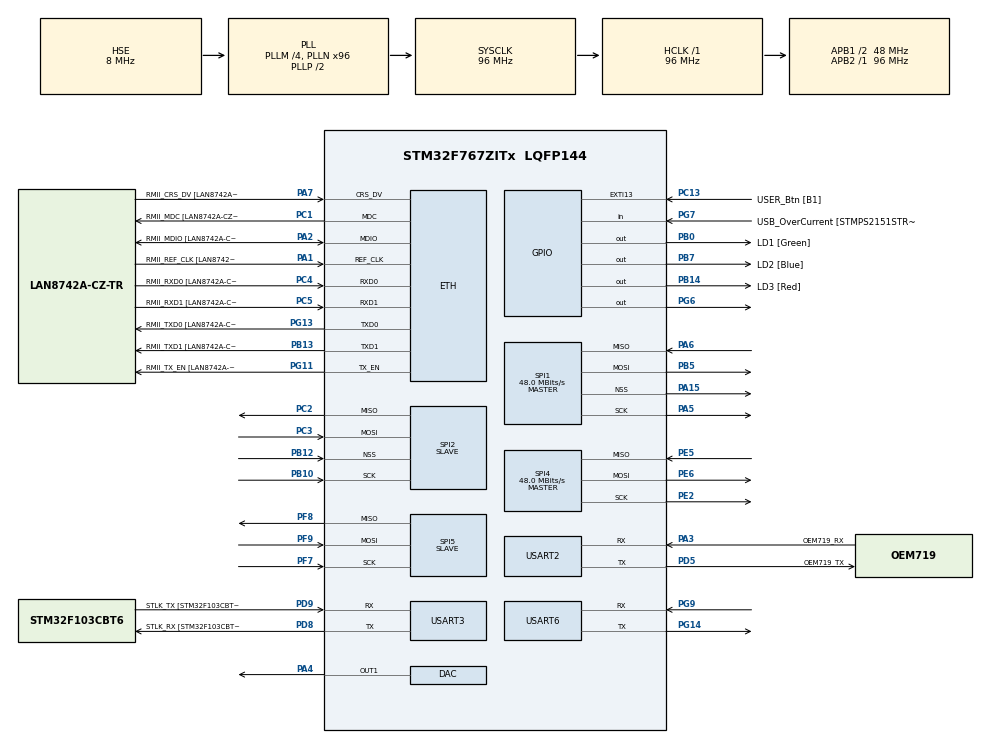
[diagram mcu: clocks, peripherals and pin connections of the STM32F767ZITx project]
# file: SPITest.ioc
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ETH.MediaInterface=HAL_ETH_RMII_MODE
ETH.PHY_Name=LAN8742A_PHY_ADDRESS
ETH.PHY_Value=0
ETH.PhyAddress=0
Mcu.Family=STM32F7
Mcu.Name=STM32F767ZITx
Mcu.Package=LQFP144
NVIC.EXTI15_10_IRQn=true\:0\:0\:false\:false\:true\:true\:true\:true
NVIC.PriorityGroup=NVIC_PRIORITYGROUP_4
NVIC.SPI1_IRQn=true\:0\:0\:false\:false\:true\:true\:true\:true
NVIC.SPI2_IRQn=true\:0\:0\:false\:false\:true\:true\:true\:true
NVIC.SPI4_IRQn=true\:0\:0\:false\:false\:true\:true\:true\:true
NVIC.SPI5_IRQn=true\:0\:0\:false\:false\:true\:true\:true\:true
NVIC.TIM6_DAC_IRQn=true\:0\:0\:false\:false\:true\:true\:true\:true
NVIC.USART2_IRQn=true\:0\:0\:false\:false\:true\:true\:true\:true
NVIC.USART3_IRQn=true\:0\:0\:false\:false\:true\:true\:true\:true
NVIC.USART6_IRQn=true\:0\:0\:false\:false\:true\:true\:true\:true
PA1.GPIO_Label=RMII_REF_CLK [LAN8742A-CZ-TR_REFCLK0]
PA1.Mode=RMII
PA1.Signal=ETH_REF_CLK
PA10.GPIO_Label=USB_ID
PA10.Signal=USB_OTG_FS_ID
PA11.GPIO_Label=USB_DM
PA11.Signal=USB_OTG_FS_DM
PA12.GPIO_Label=USB_DP
PA12.Signal=USB_OTG_FS_DP
PA13.GPIO_Label=TMS
PA13.Mode=Serial_Wire
PA13.Signal=SYS_JTMS-SWDIO
PA14.GPIO_Label=TCK
PA14.Mode=Serial_Wire
PA14.Signal=SYS_JTCK-SWCLK
PA15.Mode=NSS_Signal_Hard_Output
PA15.Signal=SPI1_NSS
PA2.GPIO_Label=RMII_MDIO [LAN8742A-CZ-TR_MDIO]
PA2.Mode=RMII
PA2.Signal=ETH_MDIO
PA3.GPIO_Label=OEM719_RX
PA3.Mode=Asynchronous
PA3.Signal=USART2_RX
PA4.Signal=COMP_DAC1_group
PA5.Mode=Full_Duplex_Master
PA5.Signal=SPI1_SCK
PA6.Mode=Full_Duplex_Master
PA6.Signal=SPI1_MISO
PA7.GPIO_Label=RMII_CRS_DV [LAN8742A-CZ-TR_CRS_DV]
PA7.Mode=RMII
PA7.Signal=ETH_CRS_DV
PA8.GPIO_Label=USB_SOF [TP1]
PA8.Signal=USB_OTG_FS_SOF
PA9.GPIO_Label=USB_VBUS
PA9.Signal=USB_OTG_FS_VBUS
PB0.GPIO_Label=LD1 [Green]
PB0.Signal=GPIO_Output
PB10.Mode=Full_Duplex_Slave
PB10.Signal=SPI2_SCK
PB12.Mode=NSS_Signal_Hard_Input
PB12.Signal=SPI2_NSS
PB13.GPIO_Label=RMII_TXD1 [LAN8742A-CZ-TR_TXD1]
PB13.Mode=RMII
PB13.Signal=ETH_TXD1
PB14.GPIO_Label=LD3 [Red]
PB14.Signal=GPIO_Output
PB3.GPIO_Label=SWO
PB3.Signal=SYS_JTDO-SWO
PB5.Mode=Full_Duplex_Master
PB5.Signal=SPI1_MOSI
PB7.GPIO_Label=LD2 [Blue]
PB7.Signal=GPIO_Output
PC1.GPIO_Label=RMII_MDC [LAN8742A-CZ-TR_MDC]
PC1.Mode=RMII
PC1.Signal=ETH_MDC
PC13.GPIO_Label=USER_Btn [B1]
PC13.Signal=GPXTI13
PC14/OSC32_IN.Mode=LSE-External-Oscillator
PC14/OSC32_IN.Signal=RCC_OSC32_IN
PC15/OSC32_OUT.Mode=LSE-External-Oscillator
PC15/OSC32_OUT.Signal=RCC_OSC32_OUT
PC2.Mode=Full_Duplex_Slave
PC2.Signal=SPI2_MISO
PC3.Mode=Full_Duplex_Slave
PC3.Signal=SPI2_MOSI
PC4.GPIO_Label=RMII_RXD0 [LAN8742A-CZ-TR_RXD0]
PC4.Mode=RMII
PC4.Signal=ETH_RXD0
PC5.GPIO_Label=RMII_RXD1 [LAN8742A-CZ-TR_RXD1]
PC5.Mode=RMII
PC5.Signal=ETH_RXD1
PD5.GPIO_Label=OEM719_TX
PD5.Mode=Asynchronous
PD5.Signal=USART2_TX
PD8.GPIO_Label=STLK_RX [STM32F103CBT6_PA3]
PD8.Mode=Asynchronous
PD8.Signal=USART3_TX
PD9.GPIO_Label=STLK_TX [STM32F103CBT6_PA2]
PD9.Mode=Asynchronous
PD9.Signal=USART3_RX
PE2.Mode=Full_Duplex_Master
PE2.Signal=SPI4_SCK
PE5.Mode=Full_Duplex_Master
PE5.Signal=SPI4_MISO
PE6.Mode=Full_Duplex_Master
PE6.Signal=SPI4_MOSI
PF7.Mode=Full_Duplex_Slave
PF7.Signal=SPI5_SCK
PF8.Mode=Full_Duplex_Slave
PF8.Signal=SPI5_MISO
PF9.Mode=Full_Duplex_Slave
PF9.Signal=SPI5_MOSI
PG11.GPIO_Label=RMII_TX_EN [LAN8742A-CZ-TR_TXEN]
PG11.Mode=RMII
PG11.Signal=ETH_TX_EN
PG13.GPIO_Label=RMII_TXD0 [LAN8742A-CZ-TR_TXD0]
PG13.Mode=RMII
PG13.Signal=ETH_TXD0
PG14.Mode=Asynchronous
PG14.Signal=USART6_TX
PG6.Signal=GPIO_Output
PG7.GPIO_Label=USB_OverCurrent [STMPS2151STR_FAULT]
PG7.Signal=GPIO_Input
PG9.Mode=Asynchronous
PG9.Signal=USART6_RX
PH0/OSC_IN.GPIO_Label=MCO [STM32F103CBT6_PA8]
PH0/OSC_IN.Mode=HSE-External-Clock-Source
PH0/OSC_IN.Signal=RCC_OSC_IN
PH1/OSC_OUT.Mode=HSE-External-Clock-Source
PH1/OSC_OUT.Signal=RCC_OSC_OUT
ProjectManager.HeapSize=0x200
ProjectManager.StackSize=0x400
ProjectManager.TargetToolchain=CMake
RCC.48MHZClocksFreq_Value=24000000
RCC.AHBFreq_Value=96000000
RCC.APB1CLKDivider=RCC_HCLK_DIV2
RCC.APB1Freq_Value=48000000
RCC.APB1TimFreq_Value=96000000
RCC.APB2Freq_Value=96000000
RCC.APB2TimFreq_Value=96000000
RCC.CortexFreq_Value=96000000
RCC.HCLKFreq_Value=96000000
RCC.HSE_VALUE=8000000
RCC.HSI_VALUE=16000000
RCC.PLLM=4
RCC.PLLMUL=RCC_PLL_MUL9
RCC.PLLN=96
RCC.PLLQ=4
RCC.PLLSourceVirtual=RCC_PLLSOURCE_HSE
RCC.PRESCALERUSB=RCC_USBCLKSOURCE_PLL_DIV1_5
RCC.SYSCLKFreq_VALUE=96000000
RCC.SYSCLKSource=RCC_SYSCLKSOURCE_PLLCLK
RCC.SYSCLKSourceVirtual=RCC_SYSCLKSOURCE_PLLCLK
RCC.USBFreq_Value=48000000
RCC.VCOOutputFreq_Value=192000000
SH.COMP_DAC1_group.0=DAC_OUT1,DAC_OUT1
SPI1.CalculateBaudRate=48.0 MBits/s
SPI1.DataSize=SPI_DATASIZE_4BIT
SPI1.Direction=SPI_DIRECTION_2LINES
SPI1.Mode=SPI_MODE_MASTER
SPI1.VirtualNSS=VM_NSSHARD
SPI1.VirtualType=VM_MASTER
SPI2.DataSize=SPI_DATASIZE_4BIT
SPI2.Direction=SPI_DIRECTION_2LINES
SPI2.Mode=SPI_MODE_SLAVE
SPI2.VirtualNSS=VM_NSSHARD
SPI2.VirtualType=VM_SLAVE
SPI4.CalculateBaudRate=48.0 MBits/s
SPI4.DataSize=SPI_DATASIZE_8BIT
SPI4.Direction=SPI_DIRECTION_2LINES
SPI4.Mode=SPI_MODE_MASTER
SPI4.VirtualType=VM_MASTER
SPI5.DataSize=SPI_DATASIZE_8BIT
SPI5.Direction=SPI_DIRECTION_2LINES
SPI5.Mode=SPI_MODE_SLAVE
SPI5.VirtualType=VM_SLAVE
USART2.VirtualMode-Asynchronous=VM_ASYNC
USART3.VirtualMode-Asynchronous=VM_ASYNC
USART6.VirtualMode-Asynchronous=VM_ASYNC
board=NUCLEO-F767ZI

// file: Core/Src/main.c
/* USER CODE BEGIN Header */
/**
  ******************************************************************************
  * @file           : main.c
  * @brief          : Main program body
  ******************************************************************************
  * @attention
  *
  * Copyright (c) 2025 STMicroelectronics.
  * All rights reserved.
  *
  * This software is licensed under terms that can be found in the LICENSE file
  * in the root directory of this software component.
  * If no LICENSE file comes with this software, it is provided AS-IS.
  *
  ******************************************************************************
  */
/* USER CODE END Header */
#include "main.h"
#include "string.h"

/* USER CODE BEGIN Includes */
#include "spitest.h"
#include <stdbool.h>
/* USER CODE END Includes */

/* USER CODE BEGIN PD */
// Set to 1 to enable periodic debug prints on USART3 while streaming
#define ENABLE_UART3_DEBUG 0

/* USER CODE END PD */

#if defined ( __ICCARM__ ) /*!< IAR Compiler */
#pragma location=0x2007c000
ETH_DMADescTypeDef  DMARxDscrTab[ETH_RX_DESC_CNT]; /* Ethernet Rx DMA Descriptors */
#pragma location=0x2007c0a0
ETH_DMADescTypeDef  DMATxDscrTab[ETH_TX_DESC_CNT]; /* Ethernet Tx DMA Descriptors */

#elif defined ( __CC_ARM )  /* MDK ARM Compiler */

__attribute__((at(0x2007c000))) ETH_DMADescTypeDef  DMARxDscrTab[ETH_RX_DESC_CNT]; /* Ethernet Rx DMA Descriptors */
__attribute__((at(0x2007c0a0))) ETH_DMADescTypeDef  DMATxDscrTab[ETH_TX_DESC_CNT]; /* Ethernet Tx DMA Descriptors */

#elif defined ( __GNUC__ ) /* GNU Compiler */

ETH_DMADescTypeDef DMARxDscrTab[ETH_RX_DESC_CNT] __attribute__((section(".RxDecripSection"))); /* Ethernet Rx DMA Descriptors */
ETH_DMADescTypeDef DMATxDscrTab[ETH_TX_DESC_CNT] __attribute__((section(".TxDecripSection")));   /* Ethernet Tx DMA Descriptors */
#endif

ETH_TxPacketConfig TxConfig;

DAC_HandleTypeDef hdac;

ETH_HandleTypeDef heth;

SPI_HandleTypeDef hspi1;
SPI_HandleTypeDef hspi2;
SPI_HandleTypeDef hspi4;
SPI_HandleTypeDef hspi5;

UART_HandleTypeDef huart2;
UART_HandleTypeDef huart3;
UART_HandleTypeDef huart6;

/* USER CODE BEGIN PV */
// OEM719 GNSS receiver buffers and state
#define OEM_RX_BUF_SIZE 512
uint8_t oem_rx_buffer[OEM_RX_BUF_SIZE];
volatile uint16_t oem_rx_head = 0;
volatile bool oem_rx_byte_ready = false;
uint8_t oem_rx_single = 0;

/* USER CODE END PV */

void SystemClock_Config(void);
static void MX_GPIO_Init(void);
static void MX_ETH_Init(void);
static void MX_SPI1_Init(void);
static void MX_SPI2_Init(void);
static void MX_USART2_UART_Init(void);
static void MX_USART3_UART_Init(void);
static void MX_DAC_Init(void);
static void MX_SPI4_Init(void);
static void MX_SPI5_Init(void);
static void MX_USART6_UART_Init(void);

/* USER CODE BEGIN 0 */

static void UART6_ClearErrorsAndFlush(void)
{
  __HAL_UART_CLEAR_PEFLAG(&huart6);
  __HAL_UART_CLEAR_FEFLAG(&huart6);
  __HAL_UART_CLEAR_NEFLAG(&huart6);
  __HAL_UART_CLEAR_OREFLAG(&huart6);
  __HAL_UART_CLEAR_IDLEFLAG(&huart6);

  while (__HAL_UART_GET_FLAG(&huart6, UART_FLAG_RXNE)) {
    volatile uint8_t discard = (uint8_t)(huart6.Instance->RDR & 0xFF);
    (void)discard;
  }
}

volatile uint32_t oem_uart_error_count = 0;

volatile bool slave_rx_done         = false;
volatile bool master_tx_done        = false;
volatile bool uart_busy             = false;
volatile bool button_request        = false;
volatile bool transfer_in_progress  = false;

uint32_t lastTick = 0;
uint8_t slave_rx_byte = 0;

void HAL_GPIO_EXTI_Callback(uint16_t GPIO_Pin) {
    if (GPIO_Pin == GPIO_PIN_13) {
      uint32_t currentTick = HAL_GetTick();

      if ((currentTick - lastTick) > 250 && !transfer_in_progress) {
        button_request = true;
        lastTick = currentTick;
        HAL_GPIO_TogglePin(GPIOB, LD2_Pin);
      }
    }
}

void HAL_SPI_RxCpltCallback(SPI_HandleTypeDef *hspi) {
    if (hspi == &hspi5) {
        slave_rx_done = true;
    }
}

void HAL_SPI_TxCpltCallback(SPI_HandleTypeDef *hspi) {
    if (hspi == &hspi4) {
        master_tx_done = true;
    }
}

void HAL_UART_TxCpltCallback(UART_HandleTypeDef *huart) {
    if (huart == &huart3) uart_busy = false;
}

void HAL_UART_RxCpltCallback(UART_HandleTypeDef *huart) {
    if (huart == &huart6) {
        // Store received byte in circular buffer
        oem_rx_buffer[oem_rx_head] = oem_rx_single;
        oem_rx_head = (oem_rx_head + 1) % OEM_RX_BUF_SIZE;
        oem_rx_byte_ready = true;

        // Restart reception for next byte
        HAL_UART_Receive_IT(&huart6, &oem_rx_single, 1);
    }
}

void HAL_UART_ErrorCallback(UART_HandleTypeDef *huart)
{
    if (huart == &huart6) {
        oem_uart_error_count++;
        UART6_ClearErrorsAndFlush();
        HAL_UART_Receive_IT(&huart6, &oem_rx_single, 1);
    }
}

const uint8_t data_buffer[4] = {'1', '3', '3', '7'};
      uint8_t slave_rx[4];

void SPILoop_HandleRequests()
{

  if (!button_request || transfer_in_progress) return;

  transfer_in_progress  = true;
  button_request        = false;
  slave_rx_done         = false;

  // Arm slave receive
  if (HAL_SPI_Receive_IT(&hspi5, (uint8_t *)slave_rx, 4) != HAL_OK) {
      char dbg[128];
      int n = snprintf(dbg, sizeof(dbg), "SLAVE_RX_IT failed: state=%d, err=0x%08lX\r\n",
                      (int)hspi5.State, (unsigned long)hspi5.ErrorCode);
      HAL_UART_Transmit(&huart3, (uint8_t*)dbg, (uint16_t)n, HAL_MAX_DELAY);
      transfer_in_progress = false;
      return;
  }

  // Master trnasmit
  if (HAL_SPI_Transmit_IT(&hspi4, (uint8_t *)data_buffer, 4) != HAL_OK) {
    HAL_UART_Transmit(&huart3, (uint8_t *)"MASTER_TX failed \r\n", sizeof("MASTER_TX failed \r\n"), HAL_MAX_DELAY);
    transfer_in_progress = false;
    return;
  }

  uint32_t t0 = HAL_GetTick();
  while(!slave_rx_done && (HAL_GetTick() - t0) < 2000) {}

  if (!slave_rx_done) {
    const char err[] = "SLAVE_RX timeout\r\n";
    HAL_UART_Transmit(&huart3, (uint8_t*)err, sizeof(err)-1, HAL_MAX_DELAY);
    transfer_in_progress = false;
    return;
  }

  HAL_UART_Transmit(&huart3, (uint8_t*)"DATA RECEIVED AT SPI5: ", sizeof("DATA RECEIVED AT SPI5: "), HAL_MAX_DELAY);
  HAL_UART_Transmit(&huart3, slave_rx, sizeof(slave_rx), HAL_MAX_DELAY); // prints "1337" if OK
  HAL_UART_Transmit(&huart3, (uint8_t*)"\r\n", 2, HAL_MAX_DELAY);

  transfer_in_progress = false;
}

/* USER CODE END 0 */

int main(void)
{

  /* MCU Configuration--------------------------------------------------------*/

  /* Reset of all peripherals, Initializes the Flash interface and the Systick. */
  HAL_Init();

  /* Configure the system clock */
  SystemClock_Config();

  /* Initialize all configured peripherals */
  MX_GPIO_Init();
  MX_ETH_Init();
  MX_SPI1_Init();
  MX_SPI2_Init();
  MX_USART2_UART_Init();
  MX_USART3_UART_Init();
  MX_DAC_Init();
  MX_SPI4_Init();
  MX_SPI5_Init();
  MX_USART6_UART_Init();
  /* USER CODE BEGIN 2 */

  const char hello[] = "\r\n=== OEM719 GNSS Baudrate Scanner ===\r\n";
  HAL_UART_Transmit(&huart3, (uint8_t*)hello, strlen(hello), HAL_MAX_DELAY);

  // ============================================================
  // HARDWARE TEST: USART6 Loopback (connect TX to RX)
  // ============================================================
  const char test_msg[] = "\r\n[HW TEST] Testing USART6 loopback...\r\n";
  HAL_UART_Transmit(&huart3, (uint8_t*)test_msg, strlen(test_msg), HAL_MAX_DELAY);
  const char test2[] = "[HW TEST] If you see garbage below, it's a hardware/EMI issue!\r\n";
  HAL_UART_Transmit(&huart3, (uint8_t*)test2, strlen(test2), HAL_MAX_DELAY);

  // Send test pattern on USART6 TX and receive it back
  const char loopback_pattern[] = "LOOPBACK_TEST_12345_ABCDE\r\n";
  oem_rx_head = 0;
  HAL_UART_Receive_IT(&huart6, &oem_rx_single, 1);

  // Short TX to RX externally or check with scope
  HAL_UART_Transmit(&huart6, (uint8_t*)loopback_pattern, strlen(loopback_pattern), HAL_MAX_DELAY);
  HAL_Delay(200);

  const char lb_result[] = "[HW TEST] USART6 loopback result:\r\n";
  HAL_UART_Transmit(&huart3, (uint8_t*)lb_result, strlen(lb_result), HAL_MAX_DELAY);
  if (oem_rx_head > 0) {
      const char lb_hex[] = "  Received (HEX): ";
      HAL_UART_Transmit(&huart3, (uint8_t*)lb_hex, strlen(lb_hex), HAL_MAX_DELAY);
      for (int i = 0; i < oem_rx_head && i < 50; i++) {
          char hex[4];
          snprintf(hex, sizeof(hex), "%02X ", oem_rx_buffer[i]);
          HAL_UART_Transmit(&huart3, (uint8_t*)hex, strlen(hex), HAL_MAX_DELAY);
      }
      HAL_UART_Transmit(&huart3, (uint8_t*)"\r\n", 2, HAL_MAX_DELAY);
      const char lb_ascii[] = "  Received (ASCII): ";
      HAL_UART_Transmit(&huart3, (uint8_t*)lb_ascii, strlen(lb_ascii), HAL_MAX_DELAY);
      HAL_UART_Transmit(&huart3, oem_rx_buffer, oem_rx_head, HAL_MAX_DELAY);
      HAL_UART_Transmit(&huart3, (uint8_t*)"\r\n", 2, HAL_MAX_DELAY);
  } else {
      const char no_loop[] = "  [No loopback data - TX/RX not connected]\r\n";
      HAL_UART_Transmit(&huart3, (uint8_t*)no_loop, strlen(no_loop), HAL_MAX_DELAY);
  }
  const char test_done[] = "[HW TEST] If loopback is clean but OEM719 is garbled, check:\r\n";
  HAL_UART_Transmit(&huart3, (uint8_t*)test_done, strlen(test_done), HAL_MAX_DELAY);
  const char test_check1[] = "  1. *** CRITICAL: COMMON GROUND REQUIRED! ***\r\n";
  HAL_UART_Transmit(&huart3, (uint8_t*)test_check1, strlen(test_check1), HAL_MAX_DELAY);
  const char test_check2[] = "     Connect OEM719 GND to STM32 GND!\r\n";
  HAL_UART_Transmit(&huart3, (uint8_t*)test_check2, strlen(test_check2), HAL_MAX_DELAY);
  const char test_check3[] = "     Without common ground, voltage levels are undefined!\r\n";
  HAL_UART_Transmit(&huart3, (uint8_t*)test_check3, strlen(test_check3), HAL_MAX_DELAY);
  const char test_check4[] = "  2. OEM719 TX voltage (should be 3.3V, not 5V!)\r\n";
  HAL_UART_Transmit(&huart3, (uint8_t*)test_check4, strlen(test_check4), HAL_MAX_DELAY);
  const char test_check5[] = "  3. Wire length (keep under 30cm for high baud)\r\n\r\n";
  HAL_UART_Transmit(&huart3, (uint8_t*)test_check5, strlen(test_check5), HAL_MAX_DELAY);

  oem_rx_head = 0;
  HAL_UART_Abort(&huart6);

  // ============================================================
  // CRITICAL FIX: Send blind reset commands at multiple baud rates
  // to recover from previous configuration changes
  // ============================================================
  const char msg_reset[] = "[RECOVERY] Sending UNLOG at common baud rates to clear OEM719 state...\r\n";
  HAL_UART_Transmit(&huart3, (uint8_t*)msg_reset, strlen(msg_reset), HAL_MAX_DELAY);

  uint32_t recovery_bauds[] = {9600, 115200, 230400, 460800, 19200};
  for (int r = 0; r < 5; r++) {
      HAL_UART_Abort(&huart6);
      huart6.Init.BaudRate = recovery_bauds[r];
      HAL_UART_Init(&huart6);

      UART6_ClearErrorsAndFlush();
      __HAL_UART_ENABLE_IT(&huart6, UART_IT_ERR);
      __HAL_UART_ENABLE_IT(&huart6, UART_IT_PE);

      // CRITICAL: Start RX interrupt BEFORE sending command!
      HAL_UART_Receive_IT(&huart6, &oem_rx_single, 1);
      HAL_Delay(50);

      // FORCE responses back ON (in case previous run disabled them)
      const char force_on[] = "INTERFACEMODE COM1 NONE NONE ON\r\n";
      HAL_UART_Transmit(&huart6, (uint8_t*)force_on, strlen(force_on), 100);
      HAL_Delay(50);

      // Send UNLOG blind (will work if OEM719 is at this baud rate)
      const char unlog_blind[] = "UNLOG\r\n";
      HAL_UART_Transmit(&huart6, (uint8_t*)unlog_blind, strlen(unlog_blind), 100);
      HAL_Delay(100);  // Give time for response
  }

  const char msg_reset_done[] = "[RECOVERY] Recovery commands sent\r\n";
  HAL_UART_Transmit(&huart3, (uint8_t*)msg_reset_done, strlen(msg_reset_done), HAL_MAX_DELAY);

  HAL_UART_Abort(&huart6);
  oem_rx_head = 0;  // NOW clear buffer after recovery

  // Common OEM719 baudrates to test (starting with most reliable)
  uint32_t baudrates[] = {9600, 19200, 38400, 57600, 115200, 230400, 460800};
  int num_baudrates = 7;
  bool found = false;
  uint32_t working_baudrate = 0;

  for (int i = 0; i < num_baudrates && !found; i++) {
      char msg[80];
      snprintf(msg, sizeof(msg), "\r\n[TEST %d/%d] Trying %lu baud...\r\n",
               i+1, num_baudrates, (unsigned long)baudrates[i]);
      HAL_UART_Transmit(&huart3, (uint8_t*)msg, strlen(msg), HAL_MAX_DELAY);

      // Reconfigure USART6 to test baudrate
      HAL_UART_Abort(&huart6);
      huart6.Init.BaudRate = baudrates[i];
      if (HAL_UART_Init(&huart6) != HAL_OK) {
          Error_Handler();
      }

      // Clear residual flags/data and enable error interrupts before RX
      UART6_ClearErrorsAndFlush();
      __HAL_UART_ENABLE_IT(&huart6, UART_IT_ERR);
      __HAL_UART_ENABLE_IT(&huart6, UART_IT_PE);

      // Start interrupt-driven reception
      HAL_UART_Receive_IT(&huart6, &oem_rx_single, 1);

      HAL_Delay(100);  // Brief stabilization

      // Clear buffer BEFORE sending command
      oem_rx_head = 0;

      // Send VERSION command (lighter than UNLOG, always responds)
      const char ver[] = "VERSION\r\n";
      HAL_UART_Transmit(&huart6, (uint8_t*)ver, strlen(ver), HAL_MAX_DELAY);

      HAL_Delay(1500);  // Wait for response (OEM719 might be processing)

      // Check if we got a response (looking for any data, even just \r\n)
      if (oem_rx_head > 2) {  // At least got \r\n or some response
          char success[100];
          snprintf(success, sizeof(success),
                   "*** SUCCESS! OEM719 responded at %lu baud! ***\r\n",
                   (unsigned long)baudrates[i]);
          HAL_UART_Transmit(&huart3, (uint8_t*)success, strlen(success), HAL_MAX_DELAY);

          // Show what we received (ASCII)
          const char resp[] = "Response (ASCII): ";
          HAL_UART_Transmit(&huart3, (uint8_t*)resp, strlen(resp), HAL_MAX_DELAY);
          HAL_UART_Transmit(&huart3, oem_rx_buffer,
                           (oem_rx_head < 40) ? oem_rx_head : 40, HAL_MAX_DELAY);
          HAL_UART_Transmit(&huart3, (uint8_t*)"\r\n", 2, HAL_MAX_DELAY);

          // Show hex dump to diagnose binary vs ASCII
          const char hex_label[] = "Response (HEX): ";
          HAL_UART_Transmit(&huart3, (uint8_t*)hex_label, strlen(hex_label), HAL_MAX_DELAY);
          for (int j = 0; j < oem_rx_head && j < 40; j++) {
              char hex[4];
              snprintf(hex, sizeof(hex), "%02X ", oem_rx_buffer[j]);
              HAL_UART_Transmit(&huart3, (uint8_t*)hex, strlen(hex), HAL_MAX_DELAY);
          }
          HAL_UART_Transmit(&huart3, (uint8_t*)"\r\n\r\n", 3, HAL_MAX_DELAY);

          found = true;
          working_baudrate = baudrates[i];
  } else {
          const char fail[] = "No response.\r\n";
          HAL_UART_Transmit(&huart3, (uint8_t*)fail, strlen(fail), HAL_MAX_DELAY);
      }

      HAL_UART_Abort(&huart6);
  }

  if (!found) {
      const char err1[] = "\r\n!!! ERROR: OEM719 not responding at ANY baudrate !!!\r\n";
      HAL_UART_Transmit(&huart3, (uint8_t*)err1, strlen(err1), HAL_MAX_DELAY);
      const char err2[] = "Check:\r\n";
      HAL_UART_Transmit(&huart3, (uint8_t*)err2, strlen(err2), HAL_MAX_DELAY);
      const char err3[] = "  1. Wiring: OEM719 TXD1 -> STM32 USART6_RX\r\n";
      HAL_UART_Transmit(&huart3, (uint8_t*)err3, strlen(err3), HAL_MAX_DELAY);
      const char err4[] = "  2. Wiring: OEM719 RXD1 -> STM32 USART6_TX\r\n";
      HAL_UART_Transmit(&huart3, (uint8_t*)err4, strlen(err4), HAL_MAX_DELAY);
      const char err5[] = "  3. Power: Is OEM719 powered and LED blinking?\r\n";
      HAL_UART_Transmit(&huart3, (uint8_t*)err5, strlen(err5), HAL_MAX_DELAY);
      const char err6[] = "  4. Voltage: 3.3V logic levels (not 5V!)\r\n";
      HAL_UART_Transmit(&huart3, (uint8_t*)err6, strlen(err6), HAL_MAX_DELAY);
      const char err7[] = "\r\nStopping here. Fix wiring and reset board.\r\n\r\n";
      HAL_UART_Transmit(&huart3, (uint8_t*)err7, strlen(err7), HAL_MAX_DELAY);

      // Stop here - don't proceed
      while(1) {
          HAL_Delay(1000);
          HAL_GPIO_TogglePin(GPIOB, LD1_Pin);  // Blink LED to show error
      }
  }

  HAL_Delay(500);

  // ============================================================
  // Step 2: Now configure OEM719 at the working baudrate
  // ============================================================
  huart6.Init.BaudRate = working_baudrate;
  if (HAL_UART_Init(&huart6) != HAL_OK) {
      Error_Handler();
  }

  // Clear residual flags/data and enable error interrupts before RX
  UART6_ClearErrorsAndFlush();
  __HAL_UART_ENABLE_IT(&huart6, UART_IT_ERR);
  __HAL_UART_ENABLE_IT(&huart6, UART_IT_PE);
  HAL_UART_Receive_IT(&huart6, &oem_rx_single, 1);

  oem_rx_head = 0;  // Clear buffer

  // Clear any pending logs
  const char unlog[] = "UNLOGALL\r\n";
  HAL_UART_Transmit(&huart6, (uint8_t*)unlog, strlen(unlog), HAL_MAX_DELAY);
  HAL_Delay(200);
  oem_rx_head = 0;

  // ============================================================
  // Step 3: Lock baud rate at detected rate and disable auto-switching
  // CRITICAL: Do NOT change baud rate - keep at working_baudrate!
  // ============================================================
  const char msg_lock[] = "[STM32] Locking communication at detected baud rate\r\n";
  HAL_UART_Transmit(&huart3, (uint8_t*)msg_lock, strlen(msg_lock), HAL_MAX_DELAY);

  // Just disable break detection, don't change the baud rate
  char serialcmd[80];
  snprintf(serialcmd, sizeof(serialcmd), "SERIALCONFIG COM1 %lu N 8 1 N OFF\r\n",
           (unsigned long)working_baudrate);

  oem_rx_head = 0;  // Clear before sending
  HAL_UART_Transmit(&huart6, (uint8_t*)serialcmd, strlen(serialcmd), HAL_MAX_DELAY);

  HAL_Delay(300);

  // Check response briefly
  if (oem_rx_head > 0) {
      // Check for <OK
      bool got_ok = false;
      for (int i = 0; i < oem_rx_head - 2; i++) {
          if (oem_rx_buffer[i] == 0x3C && oem_rx_buffer[i+1] == 0x4F && oem_rx_buffer[i+2] == 0x4B) {
              got_ok = true;
              break;
          }
      }

      if (got_ok) {
          const char msg_ok[] = "[STM32] SERIALCONFIG confirmed\r\n";
          HAL_UART_Transmit(&huart3, (uint8_t*)msg_ok, strlen(msg_ok), HAL_MAX_DELAY);
      }
  }

  oem_rx_head = 0;
  HAL_Delay(200);

  const char msg_stay[] = "[STM32] Communication stable, ready for logging\r\n\r\n";
  HAL_UART_Transmit(&huart3, (uint8_t*)msg_stay, strlen(msg_stay), HAL_MAX_DELAY);

  // ============================================================
  // Step 4: Clear all existing logs
  // ============================================================
  const char unlogall[] = "UNLOGALL\r\n";
  HAL_UART_Transmit(&huart6, (uint8_t*)unlogall, strlen(unlogall), HAL_MAX_DELAY);

  const char msg_unlog[] = "[STM32] Cleared all logs\r\n";
  HAL_UART_Transmit(&huart3, (uint8_t*)msg_unlog, strlen(msg_unlog), HAL_MAX_DELAY);

  HAL_Delay(500);
  oem_rx_head = 0;

  // ============================================================
  // Step 5: CRITICAL DIAGNOSTIC - Check for binary format responses
  // ============================================================
  const char msg_diag[] = "[STM32] === DIAGNOSTICS ===\r\n";
  HAL_UART_Transmit(&huart3, (uint8_t*)msg_diag, strlen(msg_diag), HAL_MAX_DELAY);

  // Check if responses are BINARY (AA 44 12 1C = NovAtel binary sync)
  const char msg_check[] = "[STM32] Checking if OEM719 is in BINARY mode...\r\n";
  HAL_UART_Transmit(&huart3, (uint8_t*)msg_check, strlen(msg_check), HAL_MAX_DELAY);

  // Request port statistics to see format
  const char portstat[] = "LOG PORTSTATSA ONCE\r\n";
  HAL_UART_Transmit(&huart6, (uint8_t*)portstat, strlen(portstat), HAL_MAX_DELAY);

  HAL_Delay(1000);

  if (oem_rx_head > 0) {
      // Check for binary header (AA 44 12 1C)
      bool is_binary = false;
      if (oem_rx_head >= 4) {
          if (oem_rx_buffer[0] == 0xAA && oem_rx_buffer[1] == 0x44 &&
              oem_rx_buffer[2] == 0x12 && oem_rx_buffer[3] == 0x1C) {
              is_binary = true;
          }
      }

      char resp[100];
      snprintf(resp, sizeof(resp), "[STM32] Response (%d bytes): ", oem_rx_head);
      HAL_UART_Transmit(&huart3, (uint8_t*)resp, strlen(resp), HAL_MAX_DELAY);

      for (int i = 0; i < oem_rx_head && i < 40; i++) {
          char hex[4];
          snprintf(hex, sizeof(hex), "%02X ", oem_rx_buffer[i]);
          HAL_UART_Transmit(&huart3, (uint8_t*)hex, strlen(hex), HAL_MAX_DELAY);
      }
      HAL_UART_Transmit(&huart3, (uint8_t*)"\r\n", 2, HAL_MAX_DELAY);

      if (is_binary) {
          const char msg_bin[] = "[STM32] *** BINARY FORMAT DETECTED! ***\r\n";
          HAL_UART_Transmit(&huart3, (uint8_t*)msg_bin, strlen(msg_bin), HAL_MAX_DELAY);
          const char msg_fix[] = "[STM32] OEM719 is in BINARY mode, need to force ASCII!\r\n\r\n";
          HAL_UART_Transmit(&huart3, (uint8_t*)msg_fix, strlen(msg_fix), HAL_MAX_DELAY);
      } else {
          const char msg_unk[] = "[STM32] Format unclear - not standard binary\r\n\r\n";
          HAL_UART_Transmit(&huart3, (uint8_t*)msg_unk, strlen(msg_unk), HAL_MAX_DELAY);
      }
  }

  oem_rx_head = 0;

  // ============================================================
  // Step 6: FORCE ASCII mode explicitly (RX and TX both ASCII)
  // ============================================================
  const char msg_force[] = "[STM32] Forcing INTERFACEMODE to ASCII...\r\n";
  HAL_UART_Transmit(&huart3, (uint8_t*)msg_force, strlen(msg_force), HAL_MAX_DELAY);

  // OEM719 INTERFACEMODE: port rxtype txtype responses
  // NONE = Auto-detect format (defaults to ASCII)
  // ON = Enable responses (CRITICAL - without this OEM719 goes silent!)
  oem_rx_head = 0;

  // Method 1: Set interface to auto-detect with responses ENABLED
  const char ifmode1[] = "INTERFACEMODE COM1 NONE NONE ON\r\n";
  HAL_UART_Transmit(&huart6, (uint8_t*)ifmode1, strlen(ifmode1), HAL_MAX_DELAY);
  HAL_Delay(200);

  // Method 2: Explicitly request ASCII via UNLOGALL (clears binary logs too)
  const char unlog2[] = "UNLOGALL TRUE\r\n";
  HAL_UART_Transmit(&huart6, (uint8_t*)unlog2, strlen(unlog2), HAL_MAX_DELAY);
  HAL_Delay(200);

  if (oem_rx_head > 0) {
      char resp[80];
      snprintf(resp, sizeof(resp), "[STM32] INTERFACEMODE response (%d bytes): ", oem_rx_head);
      HAL_UART_Transmit(&huart3, (uint8_t*)resp, strlen(resp), HAL_MAX_DELAY);

      for (int i = 0; i < oem_rx_head && i < 30; i++) {
          char hex[4];
          snprintf(hex, sizeof(hex), "%02X ", oem_rx_buffer[i]);
          HAL_UART_Transmit(&huart3, (uint8_t*)hex, strlen(hex), HAL_MAX_DELAY);
      }

      // Check for ASCII <OK (3C 4F 4B)
      bool got_ok = false;
      for (int i = 0; i < oem_rx_head - 2; i++) {
          if (oem_rx_buffer[i] == 0x3C && oem_rx_buffer[i+1] == 0x4F && oem_rx_buffer[i+2] == 0x4B) {
              got_ok = true;
              break;
          }
      }

      if (got_ok) {
          const char msg_ok[] = " [GOT ASCII <OK!]\r\n\r\n";
          HAL_UART_Transmit(&huart3, (uint8_t*)msg_ok, strlen(msg_ok), HAL_MAX_DELAY);
      } else {
          const char msg_still[] = " [STILL GARBLED]\r\n\r\n";
          HAL_UART_Transmit(&huart3, (uint8_t*)msg_still, strlen(msg_still), HAL_MAX_DELAY);
      }
  }

  oem_rx_head = 0;

  // ============================================================
  // Step 7: Enable 1PPS (Pulse Per Second) output for timing
  // ============================================================
  const char pps_cmd[] = "PPSCONTROL ENABLE POSITIVE 1.0 0\r\n";
  HAL_UART_Transmit(&huart6, (uint8_t*)pps_cmd, strlen(pps_cmd), HAL_MAX_DELAY);

  const char msg_pps[] = "[STM32] Enabling 1PPS output (pulse-per-second timing)\r\n";
  HAL_UART_Transmit(&huart3, (uint8_t*)msg_pps, strlen(msg_pps), HAL_MAX_DELAY);
  HAL_Delay(200);
  oem_rx_head = 0;

  // ============================================================
  // Step 8: Request logs that will ALWAYS output (to verify TX works)
  // ============================================================

  // VERSION log - outputs IMMEDIATELY, no GPS needed, repeats every 10 seconds
  const char versioncmd[] = "LOG VERSIONA ONTIME 10\r\n";
  HAL_UART_Transmit(&huart6, (uint8_t*)versioncmd, strlen(versioncmd), HAL_MAX_DELAY);
  HAL_Delay(100);

  // RXSTATUS log - outputs receiver status every 5 seconds, no GPS needed
  const char rxstatuscmd[] = "LOG RXSTATUSA ONTIME 5\r\n";
  HAL_UART_Transmit(&huart6, (uint8_t*)rxstatuscmd, strlen(rxstatuscmd), HAL_MAX_DELAY);
  HAL_Delay(100);

  // Position logs (only work with GPS lock)
  const char bestposcmd[] = "LOG BESTPOSA ONTIME 1\r\n";
  HAL_UART_Transmit(&huart6, (uint8_t*)bestposcmd, strlen(bestposcmd), HAL_MAX_DELAY);
  HAL_Delay(100);

  const char timecmd[] = "LOG TIMEA ONTIME 1\r\n";
  HAL_UART_Transmit(&huart6, (uint8_t*)timecmd, strlen(timecmd), HAL_MAX_DELAY);
  HAL_Delay(100);

  const char msg_logs[] = "[STM32] Enabled logs:\r\n";
  HAL_UART_Transmit(&huart3, (uint8_t*)msg_logs, strlen(msg_logs), HAL_MAX_DELAY);
  const char msg_ver[] = "  - VERSIONA (every 10s) - ALWAYS outputs\r\n";
  HAL_UART_Transmit(&huart3, (uint8_t*)msg_ver, strlen(msg_ver), HAL_MAX_DELAY);
  const char msg_rx[] = "  - RXSTATUSA (every 5s) - ALWAYS outputs\r\n";
  HAL_UART_Transmit(&huart3, (uint8_t*)msg_rx, strlen(msg_rx), HAL_MAX_DELAY);
  const char msg_pos[] = "  - BESTPOSA (1Hz) - needs GPS lock\r\n";
  HAL_UART_Transmit(&huart3, (uint8_t*)msg_pos, strlen(msg_pos), HAL_MAX_DELAY);
  const char msg_time[] = "  - TIMEA (1Hz) - needs GPS lock\r\n";
  HAL_UART_Transmit(&huart3, (uint8_t*)msg_time, strlen(msg_time), HAL_MAX_DELAY);
  const char msg_note[] = "[STM32] You should see VERSION and RXSTATUS immediately!\r\n";
  HAL_UART_Transmit(&huart3, (uint8_t*)msg_note, strlen(msg_note), HAL_MAX_DELAY);
  const char msg_note2[] = "[STM32] For position data: connect antenna + sky view\r\n";
  HAL_UART_Transmit(&huart3, (uint8_t*)msg_note2, strlen(msg_note2), HAL_MAX_DELAY);

  oem_rx_head = 0;

  // ============================================================
  // Step 9: Wait 3 seconds to collect initial responses
  // ============================================================
  const char msg_wait[] = "[STM32] Waiting 3 sec for log confirmations...\r\n";
  HAL_UART_Transmit(&huart3, (uint8_t*)msg_wait, strlen(msg_wait), HAL_MAX_DELAY);

  HAL_Delay(3000);

  if (oem_rx_head > 0) {
      char resp[80];
      snprintf(resp, sizeof(resp), "[STM32] Got %d bytes of responses\r\n", oem_rx_head);
      HAL_UART_Transmit(&huart3, (uint8_t*)resp, strlen(resp), HAL_MAX_DELAY);
  }

  oem_rx_head = 0;

  const char msg5[] = "=========================================\r\n";
  HAL_UART_Transmit(&huart3, (uint8_t*)msg5, strlen(msg5), HAL_MAX_DELAY);
  const char msg6[] = "OEM719 LIVE DATA STREAM (with message parsing)\r\n";
  HAL_UART_Transmit(&huart3, (uint8_t*)msg6, strlen(msg6), HAL_MAX_DELAY);
  const char msg7[] = "Messages will be displayed with timestamps\r\n";
  HAL_UART_Transmit(&huart3, (uint8_t*)msg7, strlen(msg7), HAL_MAX_DELAY);
  const char msg8[] = "=========================================\r\n\r\n";
  HAL_UART_Transmit(&huart3, (uint8_t*)msg8, strlen(msg8), HAL_MAX_DELAY);

  // Start tail at current head to skip already-processed data
  uint16_t start_head = oem_rx_head;

  /* USER CODE END 2 */

  /* Infinite loop */
  /* USER CODE BEGIN WHILE */
  uint16_t oem_rx_tail = start_head;  // Start after already-shown data
  uint32_t last_stats_tick = HAL_GetTick();
  uint32_t msg_count = 0;
  uint32_t byte_count = 0;

  // Line parsing state
  uint8_t line_buffer[256];
  uint16_t line_pos = 0;
  bool in_message = false;

  while (1)
  {
    SPILoop_HandleRequests();

    // Parse and display OEM719 messages line-by-line with formatting
    while (oem_rx_head != oem_rx_tail) {
        uint8_t byte = oem_rx_buffer[oem_rx_tail];
        oem_rx_tail = (oem_rx_tail + 1) % OEM_RX_BUF_SIZE;
        byte_count++;

        // Detect start of message
        if (byte == '#' || byte == '<' || byte == '[') {
            if (line_pos > 0) {
                // Flush previous line
                HAL_UART_Transmit(&huart3, line_buffer, line_pos, 100);
                HAL_UART_Transmit(&huart3, (uint8_t*)"\r\n", 2, 100);
                line_pos = 0;
            }
            in_message = true;
            msg_count++;

            // Add timestamp prefix for new messages
            uint32_t now = HAL_GetTick();
            char prefix[32];
            int n = snprintf(prefix, sizeof(prefix), "[%lu.%03lu] ",
                           (unsigned long)(now/1000), (unsigned long)(now%1000));
            HAL_UART_Transmit(&huart3, (uint8_t*)prefix, (uint16_t)n, 100);
        }

        // Buffer the byte
        if (line_pos < sizeof(line_buffer) - 1) {
            line_buffer[line_pos++] = byte;
        }

        // Detect end of line
        if (byte == '\n') {
            // Flush complete line
            HAL_UART_Transmit(&huart3, line_buffer, line_pos, 100);
            line_pos = 0;
            in_message = false;
        }
    }

    // Periodic statistics every 10 seconds
    uint32_t now = HAL_GetTick();
    if ((now - last_stats_tick) >= 10000) {
        last_stats_tick = now;

        char stats[150];
        int n = snprintf(stats, sizeof(stats),
                        "\r\n[STATS] Messages: %lu | Bytes: %lu | UART Errors: %lu | Uptime: %lu.%03lus\r\n\r\n",
                        (unsigned long)msg_count, (unsigned long)byte_count,
                        (unsigned long)oem_uart_error_count,
                        (unsigned long)(now/1000), (unsigned long)(now%1000));
        HAL_UART_Transmit(&huart3, (uint8_t*)stats, (uint16_t)n, HAL_MAX_DELAY);
    }

    /* USER CODE END WHILE */

  }
}

void SystemClock_Config(void)
{
  RCC_OscInitTypeDef RCC_OscInitStruct = {0};
  RCC_ClkInitTypeDef RCC_ClkInitStruct = {0};

  /** Configure LSE Drive Capability
  */
  HAL_PWR_EnableBkUpAccess();

  /** Configure the main internal regulator output voltage
  */
  __HAL_RCC_PWR_CLK_ENABLE();
  __HAL_PWR_VOLTAGESCALING_CONFIG(PWR_REGULATOR_VOLTAGE_SCALE3);

  /** Initializes the RCC Oscillators according to the specified parameters
  * in the RCC_OscInitTypeDef structure.
  */
  RCC_OscInitStruct.OscillatorType = RCC_OSCILLATORTYPE_HSE;
  RCC_OscInitStruct.HSEState = RCC_HSE_BYPASS;
  RCC_OscInitStruct.PLL.PLLState = RCC_PLL_ON;
  RCC_OscInitStruct.PLL.PLLSource = RCC_PLLSOURCE_HSE;
  RCC_OscInitStruct.PLL.PLLM = 4;
  RCC_OscInitStruct.PLL.PLLN = 96;
  RCC_OscInitStruct.PLL.PLLP = RCC_PLLP_DIV2;
  RCC_OscInitStruct.PLL.PLLQ = 4;
  RCC_OscInitStruct.PLL.PLLR = 2;
  if (HAL_RCC_OscConfig(&RCC_OscInitStruct) != HAL_OK)
  {
    Error_Handler();
  }

  /** Activate the Over-Drive mode
  */
  if (HAL_PWREx_EnableOverDrive() != HAL_OK)
  {
    Error_Handler();
  }

  /** Initializes the CPU, AHB and APB buses clocks
  */
  RCC_ClkInitStruct.ClockType = RCC_CLOCKTYPE_HCLK|RCC_CLOCKTYPE_SYSCLK
                              |RCC_CLOCKTYPE_PCLK1|RCC_CLOCKTYPE_PCLK2;
  RCC_ClkInitStruct.SYSCLKSource = RCC_SYSCLKSOURCE_PLLCLK;
  RCC_ClkInitStruct.AHBCLKDivider = RCC_SYSCLK_DIV1;
  RCC_ClkInitStruct.APB1CLKDivider = RCC_HCLK_DIV2;
  RCC_ClkInitStruct.APB2CLKDivider = RCC_HCLK_DIV1;

  if (HAL_RCC_ClockConfig(&RCC_ClkInitStruct, FLASH_LATENCY_3) != HAL_OK)
  {
    Error_Handler();
  }
}

static void MX_DAC_Init(void)
{

  DAC_ChannelConfTypeDef sConfig = {0};

  /** DAC Initialization
  */
  hdac.Instance = DAC;
  if (HAL_DAC_Init(&hdac) != HAL_OK)
  {
    Error_Handler();
  }

  /** DAC channel OUT1 config
  */
  sConfig.DAC_Trigger = DAC_TRIGGER_NONE;
  sConfig.DAC_OutputBuffer = DAC_OUTPUTBUFFER_ENABLE;
  if (HAL_DAC_ConfigChannel(&hdac, &sConfig, DAC_CHANNEL_1) != HAL_OK)
  {
    Error_Handler();
  }

}

static void MX_ETH_Init(void)
{

   static uint8_t MACAddr[6];

  heth.Instance = ETH;
  MACAddr[0] = 0x00;
  MACAddr[1] = 0x80;
  MACAddr[2] = 0xE1;
  MACAddr[3] = 0x00;
  MACAddr[4] = 0x00;
  MACAddr[5] = 0x00;
  heth.Init.MACAddr = &MACAddr[0];
  heth.Init.MediaInterface = HAL_ETH_RMII_MODE;
  heth.Init.TxDesc = DMATxDscrTab;
  heth.Init.RxDesc = DMARxDscrTab;
  heth.Init.RxBuffLen = 1524;

  if (HAL_ETH_Init(&heth) != HAL_OK)
  {
    Error_Handler();
  }

  memset(&TxConfig, 0 , sizeof(ETH_TxPacketConfig));
  TxConfig.Attributes = ETH_TX_PACKETS_FEATURES_CSUM | ETH_TX_PACKETS_FEATURES_CRCPAD;
  TxConfig.ChecksumCtrl = ETH_CHECKSUM_IPHDR_PAYLOAD_INSERT_PHDR_CALC;
  TxConfig.CRCPadCtrl = ETH_CRC_PAD_INSERT;

}

static void MX_SPI1_Init(void)
{

  /* SPI1 parameter configuration*/
  hspi1.Instance = SPI1;
  hspi1.Init.Mode = SPI_MODE_MASTER;
  hspi1.Init.Direction = SPI_DIRECTION_2LINES;
  hspi1.Init.DataSize = SPI_DATASIZE_4BIT;
  hspi1.Init.CLKPolarity = SPI_POLARITY_LOW;
  hspi1.Init.CLKPhase = SPI_PHASE_1EDGE;
  hspi1.Init.NSS = SPI_NSS_HARD_OUTPUT;
  hspi1.Init.BaudRatePrescaler = SPI_BAUDRATEPRESCALER_2;
  hspi1.Init.FirstBit = SPI_FIRSTBIT_MSB;
  hspi1.Init.TIMode = SPI_TIMODE_DISABLE;
  hspi1.Init.CRCCalculation = SPI_CRCCALCULATION_DISABLE;
  hspi1.Init.CRCPolynomial = 7;
  hspi1.Init.CRCLength = SPI_CRC_LENGTH_DATASIZE;
  hspi1.Init.NSSPMode = SPI_NSS_PULSE_ENABLE;
  if (HAL_SPI_Init(&hspi1) != HAL_OK)
  {
    Error_Handler();
  }

}

static void MX_SPI2_Init(void)
{

  /* SPI2 parameter configuration*/
  hspi2.Instance = SPI2;
  hspi2.Init.Mode = SPI_MODE_SLAVE;
  hspi2.Init.Direction = SPI_DIRECTION_2LINES;
  hspi2.Init.DataSize = SPI_DATASIZE_4BIT;
  hspi2.Init.CLKPolarity = SPI_POLARITY_LOW;
  hspi2.Init.CLKPhase = SPI_PHASE_1EDGE;
  hspi2.Init.NSS = SPI_NSS_HARD_INPUT;
  hspi2.Init.FirstBit = SPI_FIRSTBIT_MSB;
  hspi2.Init.TIMode = SPI_TIMODE_DISABLE;
  hspi2.Init.CRCCalculation = SPI_CRCCALCULATION_DISABLE;
  hspi2.Init.CRCPolynomial = 7;
  hspi2.Init.CRCLength = SPI_CRC_LENGTH_DATASIZE;
  hspi2.Init.NSSPMode = SPI_NSS_PULSE_DISABLE;
  if (HAL_SPI_Init(&hspi2) != HAL_OK)
  {
    Error_Handler();
  }

}

static void MX_SPI4_Init(void)
{

  /* SPI4 parameter configuration*/
  hspi4.Instance = SPI4;
  hspi4.Init.Mode = SPI_MODE_MASTER;
  hspi4.Init.Direction = SPI_DIRECTION_2LINES;
  hspi4.Init.DataSize = SPI_DATASIZE_8BIT;
  hspi4.Init.CLKPolarity = SPI_POLARITY_LOW;
  hspi4.Init.CLKPhase = SPI_PHASE_1EDGE;
  hspi4.Init.NSS = SPI_NSS_SOFT;
  hspi4.Init.BaudRatePrescaler = SPI_BAUDRATEPRESCALER_2;
  hspi4.Init.FirstBit = SPI_FIRSTBIT_MSB;
  hspi4.Init.TIMode = SPI_TIMODE_DISABLE;
  hspi4.Init.CRCCalculation = SPI_CRCCALCULATION_DISABLE;
  hspi4.Init.CRCPolynomial = 7;
  hspi4.Init.CRCLength = SPI_CRC_LENGTH_DATASIZE;
  hspi4.Init.NSSPMode = SPI_NSS_PULSE_ENABLE;
  if (HAL_SPI_Init(&hspi4) != HAL_OK)
  {
    Error_Handler();
  }

}

static void MX_SPI5_Init(void)
{

  /* SPI5 parameter configuration*/
  hspi5.Instance = SPI5;
  hspi5.Init.Mode = SPI_MODE_SLAVE;
  hspi5.Init.Direction = SPI_DIRECTION_2LINES;
  hspi5.Init.DataSize = SPI_DATASIZE_8BIT;
  hspi5.Init.CLKPolarity = SPI_POLARITY_LOW;
  hspi5.Init.CLKPhase = SPI_PHASE_1EDGE;
  hspi5.Init.NSS = SPI_NSS_SOFT;
  hspi5.Init.FirstBit = SPI_FIRSTBIT_MSB;
  hspi5.Init.TIMode = SPI_TIMODE_DISABLE;
  hspi5.Init.CRCCalculation = SPI_CRCCALCULATION_DISABLE;
  hspi5.Init.CRCPolynomial = 7;
  hspi5.Init.CRCLength = SPI_CRC_LENGTH_DATASIZE;
  hspi5.Init.NSSPMode = SPI_NSS_PULSE_DISABLE;
  if (HAL_SPI_Init(&hspi5) != HAL_OK)
  {
    Error_Handler();
  }

}

static void MX_USART2_UART_Init(void)
{

  huart2.Instance = USART2;
  huart2.Init.BaudRate = 115200;
  huart2.Init.WordLength = UART_WORDLENGTH_8B;
  huart2.Init.StopBits = UART_STOPBITS_1;
  huart2.Init.Parity = UART_PARITY_NONE;
  huart2.Init.Mode = UART_MODE_TX_RX;
  huart2.Init.HwFlowCtl = UART_HWCONTROL_NONE;
  huart2.Init.OverSampling = UART_OVERSAMPLING_16;
  huart2.Init.OneBitSampling = UART_ONE_BIT_SAMPLE_DISABLE;
  huart2.AdvancedInit.AdvFeatureInit = UART_ADVFEATURE_NO_INIT;
  if (HAL_UART_Init(&huart2) != HAL_OK)
  {
    Error_Handler();
  }

}

static void MX_USART3_UART_Init(void)
{

  huart3.Instance = USART3;
  huart3.Init.BaudRate = 115200;
  huart3.Init.WordLength = UART_WORDLENGTH_8B;
  huart3.Init.StopBits = UART_STOPBITS_1;
  huart3.Init.Parity = UART_PARITY_NONE;
  huart3.Init.Mode = UART_MODE_TX_RX;
  huart3.Init.HwFlowCtl = UART_HWCONTROL_NONE;
  huart3.Init.OverSampling = UART_OVERSAMPLING_16;
  huart3.Init.OneBitSampling = UART_ONE_BIT_SAMPLE_DISABLE;
  huart3.AdvancedInit.AdvFeatureInit = UART_ADVFEATURE_NO_INIT;
  if (HAL_UART_Init(&huart3) != HAL_OK)
  {
    Error_Handler();
  }

}

static void MX_USART6_UART_Init(void)
{

  huart6.Instance = USART6;
  huart6.Init.BaudRate = 115200;
  huart6.Init.WordLength = UART_WORDLENGTH_8B;
  huart6.Init.StopBits = UART_STOPBITS_1;
  huart6.Init.Parity = UART_PARITY_NONE;
  huart6.Init.Mode = UART_MODE_TX_RX;
  huart6.Init.HwFlowCtl = UART_HWCONTROL_NONE;
  huart6.Init.OverSampling = UART_OVERSAMPLING_16;
  huart6.Init.OneBitSampling = UART_ONE_BIT_SAMPLE_DISABLE;
  huart6.AdvancedInit.AdvFeatureInit = UART_ADVFEATURE_NO_INIT;
  if (HAL_UART_Init(&huart6) != HAL_OK)
  {
    Error_Handler();
  }

}

static void MX_GPIO_Init(void)
{
  GPIO_InitTypeDef GPIO_InitStruct = {0};

  /* GPIO Ports Clock Enable */
  __HAL_RCC_GPIOE_CLK_ENABLE();
  __HAL_RCC_GPIOC_CLK_ENABLE();
  __HAL_RCC_GPIOF_CLK_ENABLE();
  __HAL_RCC_GPIOH_CLK_ENABLE();
  __HAL_RCC_GPIOA_CLK_ENABLE();
  __HAL_RCC_GPIOB_CLK_ENABLE();
  __HAL_RCC_GPIOD_CLK_ENABLE();
  __HAL_RCC_GPIOG_CLK_ENABLE();

  /*Configure GPIO pin Output Level */
  HAL_GPIO_WritePin(GPIOB, LD1_Pin|LD3_Pin|LD2_Pin, GPIO_PIN_RESET);

  /*Configure GPIO pin Output Level */
  HAL_GPIO_WritePin(GPIOG, GPIO_PIN_6, GPIO_PIN_RESET);

  /*Configure GPIO pin : USER_Btn_Pin */
  GPIO_InitStruct.Pin = USER_Btn_Pin;
  GPIO_InitStruct.Mode = GPIO_MODE_IT_RISING;
  GPIO_InitStruct.Pull = GPIO_NOPULL;
  HAL_GPIO_Init(USER_Btn_GPIO_Port, &GPIO_InitStruct);

  /*Configure GPIO pins : LD1_Pin LD3_Pin LD2_Pin */
  GPIO_InitStruct.Pin = LD1_Pin|LD3_Pin|LD2_Pin;
  GPIO_InitStruct.Mode = GPIO_MODE_OUTPUT_PP;
  GPIO_InitStruct.Pull = GPIO_NOPULL;
  GPIO_InitStruct.Speed = GPIO_SPEED_FREQ_LOW;
  HAL_GPIO_Init(GPIOB, &GPIO_InitStruct);

  /*Configure GPIO pin : PG6 */
  GPIO_InitStruct.Pin = GPIO_PIN_6;
  GPIO_InitStruct.Mode = GPIO_MODE_OUTPUT_PP;
  GPIO_InitStruct.Pull = GPIO_NOPULL;
  GPIO_InitStruct.Speed = GPIO_SPEED_FREQ_LOW;
  HAL_GPIO_Init(GPIOG, &GPIO_InitStruct);

  /*Configure GPIO pin : USB_OverCurrent_Pin */
  GPIO_InitStruct.Pin = USB_OverCurrent_Pin;
  GPIO_InitStruct.Mode = GPIO_MODE_INPUT;
  GPIO_InitStruct.Pull = GPIO_NOPULL;
  HAL_GPIO_Init(USB_OverCurrent_GPIO_Port, &GPIO_InitStruct);

  /*Configure GPIO pins : USB_SOF_Pin USB_ID_Pin USB_DM_Pin USB_DP_Pin */
  GPIO_InitStruct.Pin = USB_SOF_Pin|USB_ID_Pin|USB_DM_Pin|USB_DP_Pin;
  GPIO_InitStruct.Mode = GPIO_MODE_AF_PP;
  GPIO_InitStruct.Pull = GPIO_NOPULL;
  GPIO_InitStruct.Speed = GPIO_SPEED_FREQ_VERY_HIGH;
  GPIO_InitStruct.Alternate = GPIO_AF10_OTG_FS;
  HAL_GPIO_Init(GPIOA, &GPIO_InitStruct);

  /*Configure GPIO pin : USB_VBUS_Pin */
  GPIO_InitStruct.Pin = USB_VBUS_Pin;
  GPIO_InitStruct.Mode = GPIO_MODE_INPUT;
  GPIO_InitStruct.Pull = GPIO_NOPULL;
  HAL_GPIO_Init(USB_VBUS_GPIO_Port, &GPIO_InitStruct);

  /* EXTI interrupt init*/
  HAL_NVIC_SetPriority(EXTI15_10_IRQn, 0, 0);
  HAL_NVIC_EnableIRQ(EXTI15_10_IRQn);

}

void Error_Handler(void)
{
  __disable_irq();
  while (1)
  {
  }
}
